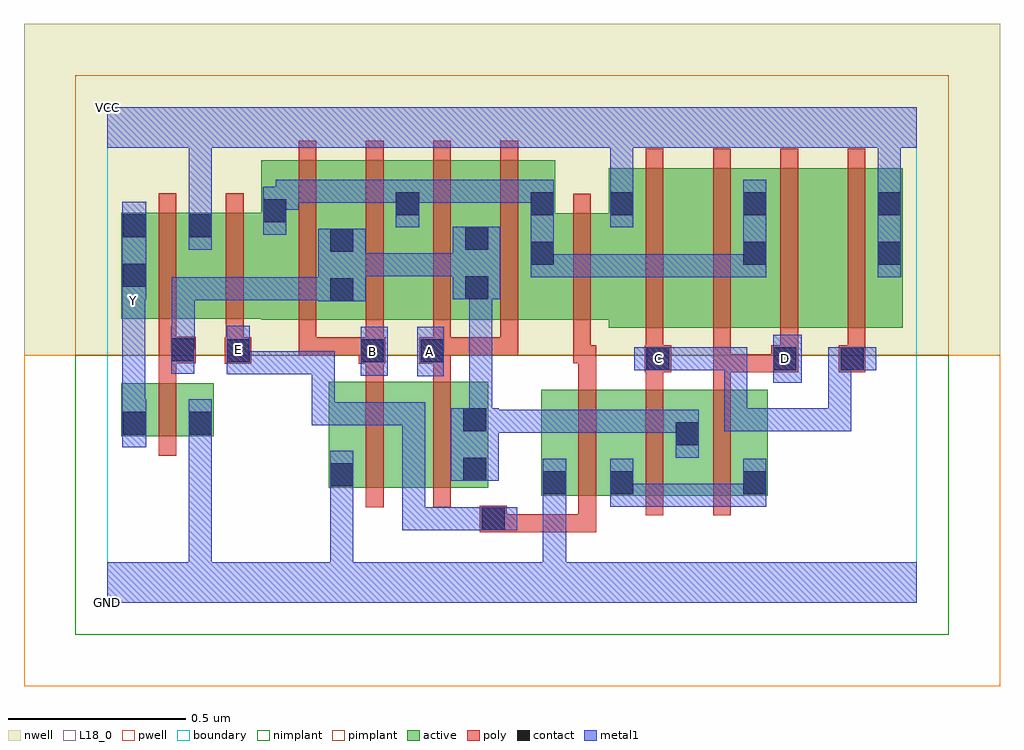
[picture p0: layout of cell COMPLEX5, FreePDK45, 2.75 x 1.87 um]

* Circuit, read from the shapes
.subckt COMPLEX5 A B C D E GND VCC Y
M1 GND n1 Y VSUBS nfet w=0.15u l=0.05u
M2 n2 B GND VSUBS nfet w=0.3u l=0.05u
M3 n1 A n2 VSUBS nfet w=0.3u l=0.05u
M4 n3 E GND VSUBS nfet w=0.3u l=0.05u
M5 n1 C n3 VSUBS nfet w=0.3u l=0.05u
M6 n3 D n1 VSUBS nfet w=0.3u l=0.05u
M7 VCC n1 Y n4 pfet w=0.3u l=0.05u
M8 n5 E VCC n4 pfet w=0.3u l=0.05u m=2
M9 n1 B n5 n4 pfet w=0.45u l=0.05u m=2
M10 n1 A n5 n4 pfet w=0.45u l=0.05u m=2
M11 n6 C VCC n4 pfet w=0.45u l=0.05u
M12 n5 D n6 n4 pfet w=0.45u l=0.05u
M13 n7 D n5 n4 pfet w=0.45u l=0.05u
M14 VCC C n7 n4 pfet w=0.45u l=0.05u
.ends

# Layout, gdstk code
import gdstk
lib = gdstk.Library(unit=1e-6, precision=1e-09)
def R(c, l, rs):  # rectangles x0, y0, x1, y1
    for r in rs: c.add(gdstk.rectangle(r[:2], r[2:], *l))
def A(c, l, x, y, w, h, nx, ny, dx, dy):  # array of equal rectangles
    R(c, l, [(x+i*dx, y+j*dy, x+i*dx+w, y+j*dy+h) for i in range(nx) for j in range(ny)])
active = (1, 0)
pwell = (2, 0)
nwell = (3, 0)
nimplant = (4, 0)
pimplant = (5, 0)
poly = (9, 0)
contact = (10, 0)
metal1 = (11, 0)
L18_0 = (18, 0)
boundary = (235, 0)

complex5 = lib.new_cell('COMPLEX5')
R(complex5, active, [(1.225,0.302,1.3,0.602), (1.225,0.302,1.49,0.602), (1.415,0.302,1.675,0.602), (1.415,0.302,1.49,0.547), (1.6,0.302,1.865,0.602), (1.79,0.302,1.865,0.602), (0.625,0.325,0.7,0.625), (0.625,0.325,0.85,0.625), (0.85,0.325,1.075,0.625), (1,0.33,1.075,0.625), (1.6,0.33,1.675,0.515), (0.04,0.47,0.115,0.62), (0.04,0.47,0.3,0.62), (0.225,0.47,0.3,0.62), (1.415,0.777,1.64,1.227), (1.64,0.777,1.865,1.227), (1.79,0.777,2.02,1.227), (1.79,0.777,1.865,1.2), (2.02,0.777,2.245,1.227), (2.17,0.777,2.245,1.227), (0.435,0.8,0.7,1.25), (0.625,0.8,0.885,1.25), (0.625,0.8,0.7,1.07), (0.81,0.8,1.08,1.25), (0.81,0.8,0.885,1.2), (1.005,0.8,1.265,1.25), (1.005,0.8,1.08,1.07), (1.19,0.8,1.49,1.1), (0.04,0.802,0.115,1.102), (0.04,0.802,0.3,1.102), (0.225,0.802,0.3,1.102), (0.225,0.802,0.51,1.102), (1.19,0.95,1.265,1.2), (0.435,1.007,0.51,1.2), (1.415,1.007,1.49,1.165)])
R(complex5, pwell, [(-0.235,-0.235,2.52,0.7)])
R(complex5, nwell, [(-0.235,0.7,2.52,1.635)])
R(complex5, nimplant, [(-0.09,-0.09,2.375,0.7)])
R(complex5, pimplant, [(-0.09,0.7,2.375,1.49)])
A(complex5, poly, 1.33, 0.247, 0.05, 0.41, 3, 1, 0.19, 0)
A(complex5, poly, 0.54, 0.7, 0.05, 0.095, 4, 1, 0.19, 0)
A(complex5, poly, 1.52, 0.722, 0.05, 0.56, 4, 1, 0.19, 0)
A(complex5, poly, 0.54, 0.745, 0.05, 0.56, 4, 1, 0.19, 0)
R(complex5, poly, [(1.052,0.2,1.127,0.275), (1.077,0.2,1.127,0.25), (1.077,0.2,1.127,0.25), (1.077,0.2,1.38,0.25), (1.33,0.2,1.38,0.25), (1.33,0.2,1.38,0.25), (1.33,0.2,1.38,0.25), (1.33,0.2,1.38,0.297), (0.73,0.27,0.78,0.68), (0.92,0.27,0.97,0.68), (0.145,0.415,0.195,0.675), (1.33,0.607,1.38,0.727), (1.52,0.607,1.57,0.702), (1.71,0.607,1.76,0.702), (0.145,0.625,0.195,0.727), (0.73,0.63,0.78,0.725), (0.92,0.63,0.97,0.725), (1.517,0.652,1.592,0.727), (1.71,0.652,1.76,0.702), (1.71,0.652,1.925,0.702), (1.71,0.652,1.76,0.772), (1.875,0.652,1.95,0.727), (1.875,0.652,1.925,0.702), (1.875,0.652,1.925,0.702), (2.065,0.652,2.14,0.727), (0.332,0.675,0.407,0.75), (0.71,0.675,0.785,0.75), (0.88,0.675,0.97,0.75), (0.145,0.677,0.25,0.752), (1.315,0.677,1.365,0.795), (1.315,0.677,1.38,0.727), (1.52,0.677,1.57,0.772), (1.9,0.677,1.95,0.772), (2.09,0.677,2.14,0.772), (0.335,0.7,0.385,0.797), (0.54,0.7,0.59,0.75), (0.54,0.7,0.59,0.75), (0.54,0.7,0.59,0.75), (0.54,0.7,0.76,0.75), (0.92,0.7,1.16,0.75), (1.11,0.7,1.16,0.75), (1.11,0.7,1.16,0.75), (1.11,0.7,1.16,0.75), (0.145,0.702,0.195,0.797), (1.315,0.745,1.365,1.155), (0.145,0.747,0.195,1.157), (0.335,0.747,0.385,1.157)])
R(complex5, contact, [(1.057,0.205,1.122,0.27), (1.23,0.307,1.295,0.372), (1.42,0.307,1.485,0.372), (1.795,0.307,1.86,0.372), (0.63,0.33,0.695,0.395), (1.005,0.345,1.07,0.41), (1.605,0.445,1.67,0.51), (0.045,0.475,0.11,0.54), (0.23,0.475,0.295,0.54), (1.005,0.485,1.07,0.55), (1.522,0.657,1.587,0.722), (1.88,0.657,1.945,0.722), (2.07,0.657,2.135,0.722), (0.337,0.68,0.402,0.745), (0.715,0.68,0.78,0.745), (0.885,0.68,0.95,0.745), (0.18,0.682,0.245,0.747), (0.63,0.852,0.695,0.917), (1.01,0.857,1.075,0.922), (0.045,0.892,0.11,0.957), (1.195,0.955,1.26,1.02), (1.795,0.955,1.86,1.02), (2.175,0.955,2.24,1.02), (0.63,0.992,0.695,1.057), (1.01,0.997,1.075,1.062), (0.045,1.032,0.11,1.097), (0.23,1.032,0.295,1.097), (0.44,1.075,0.505,1.14), (0.815,1.095,0.88,1.16), (1.195,1.095,1.26,1.16), (1.42,1.095,1.485,1.16), (1.795,1.095,1.86,1.16), (2.175,1.095,2.24,1.16)])
R(complex5, metal1, [(0,0,2.285,0.115), (0.23,0.05,0.295,0.115), (0.23,0.05,0.295,0.115), (0.23,0.05,0.295,0.115), (0.23,0.05,0.295,0.115), (0.23,0.05,0.295,0.115), (0.23,0.05,0.295,0.115), (0.23,0.05,0.295,0.505), (0.63,0.05,0.695,0.115), (0.63,0.05,0.695,0.115), (0.63,0.05,0.695,0.115), (0.63,0.05,0.695,0.115), (0.63,0.05,0.695,0.36), (1.23,0.05,1.295,0.337), (0.832,0.205,0.897,0.27), (0.832,0.205,0.897,0.27), (0.832,0.205,0.897,0.27), (0.832,0.205,0.935,0.27), (0.832,0.205,0.897,0.567), (0.87,0.205,0.935,0.27), (0.87,0.205,1.087,0.27), (1.022,0.205,1.087,0.27), (1.022,0.205,1.087,0.27), (1.022,0.205,1.157,0.27), (1.23,0.272,1.295,0.337), (1.23,0.272,1.295,0.337), (1.23,0.272,1.295,0.337), (1.23,0.272,1.295,0.337), (1.23,0.272,1.295,0.407), (1.42,0.272,1.485,0.407), (1.42,0.272,1.622,0.337), (1.557,0.272,1.622,0.337), (1.557,0.272,1.622,0.337), (1.557,0.272,1.622,0.337), (1.557,0.272,1.807,0.337), (1.742,0.272,1.807,0.337), (1.742,0.272,1.86,0.337), (1.795,0.272,1.86,0.407), (0.63,0.295,0.695,0.43), (0.97,0.345,1.105,0.55), (1.605,0.41,1.67,0.545), (0.042,0.44,0.11,0.575), (0.23,0.44,0.295,0.575), (1.04,0.48,1.247,0.545), (1.182,0.48,1.247,0.545), (1.182,0.48,1.247,0.545), (1.182,0.48,1.247,0.545), (1.182,0.48,1.415,0.545), (1.35,0.48,1.415,0.545), (1.35,0.48,1.415,0.545), (1.35,0.48,1.415,0.545), (1.35,0.48,1.67,0.545), (1.605,0.48,1.67,0.545), (1.605,0.48,1.67,0.545), (1.022,0.485,1.087,0.922), (1.742,0.485,1.807,0.55), (1.742,0.485,1.807,0.722), (1.742,0.485,1.962,0.55), (1.897,0.485,1.962,0.55), (1.897,0.485,2.1,0.55), (2.035,0.485,2.1,0.55), (2.035,0.485,2.1,0.722), (0.577,0.502,0.642,0.567), (0.577,0.502,0.797,0.567), (0.577,0.502,0.642,0.71), (0.732,0.502,0.797,0.567), (0.732,0.502,0.897,0.567), (0.832,0.502,0.897,0.567), (0.042,0.51,0.107,0.852), (1.88,0.622,1.96,0.757), (0.875,0.64,0.95,0.78), (0.715,0.642,0.792,0.78), (0.337,0.645,0.402,0.71), (0.337,0.645,0.402,0.71), (0.337,0.645,0.642,0.71), (0.337,0.645,0.402,0.782), (0.577,0.645,0.642,0.71), (0.577,0.645,0.642,0.71), (0.577,0.645,0.642,0.71), (0.18,0.647,0.245,0.782), (1.487,0.657,1.622,0.722), (1.557,0.657,1.622,0.722), (1.557,0.657,1.622,0.722), (1.557,0.657,1.807,0.722), (1.742,0.657,1.807,0.722), (1.742,0.657,1.807,0.722), (1.742,0.657,1.807,0.722), (2.035,0.657,2.1,0.722), (2.035,0.657,2.1,0.722), (2.035,0.657,2.17,0.722), (0.18,0.717,0.245,0.782), (0.18,0.717,0.247,0.782), (0.182,0.717,0.247,0.92), (0.042,0.787,0.107,0.922), (0.595,0.852,0.73,1.057), (0.182,0.855,0.247,0.92), (0.182,0.855,0.402,0.92), (0.337,0.855,0.402,0.92), (0.337,0.855,0.402,0.92), (0.337,0.855,0.402,0.92), (0.337,0.855,0.642,0.92), (0.577,0.855,0.642,0.92), (0.577,0.855,0.66,0.92), (0.042,0.857,0.107,0.922), (0.042,0.857,0.11,1.132), (0.975,0.857,1.11,1.062), (1.022,0.857,1.087,0.922), (1.022,0.857,1.087,0.922), (1.195,0.92,1.26,1.195), (1.195,0.92,1.26,0.985), (1.195,0.92,1.26,0.985), (1.195,0.92,1.397,0.985), (1.332,0.92,1.397,0.985), (1.332,0.92,1.397,0.985), (1.332,0.92,1.397,0.985), (1.332,0.92,1.622,0.985), (1.557,0.92,1.622,0.985), (1.557,0.92,1.622,0.985), (1.557,0.92,1.622,0.985), (1.557,0.92,1.807,0.985), (1.742,0.92,1.807,0.985), (1.742,0.92,1.86,0.985), (1.795,0.92,1.86,1.195), (2.175,0.92,2.24,1.195), (0.665,0.922,0.78,0.987), (0.715,0.922,0.78,0.987), (0.715,0.922,0.897,0.987), (0.832,0.922,0.897,0.987), (0.832,0.922,0.935,0.987), (0.87,0.922,0.935,0.987), (0.87,0.922,1.04,0.987), (0.23,0.997,0.295,1.132), (0.44,1.04,0.505,1.175), (0.815,1.06,0.88,1.195), (1.42,1.06,1.485,1.195), (0.23,1.067,0.295,1.35), (0.44,1.11,0.54,1.175), (0.475,1.11,0.54,1.195), (0.475,1.13,0.642,1.195), (0.577,1.13,0.642,1.195), (0.577,1.13,0.78,1.195), (0.715,1.13,0.78,1.195), (0.715,1.13,0.88,1.195), (0.815,1.13,0.935,1.195), (0.87,1.13,0.935,1.195), (0.87,1.13,1.11,1.195), (1.045,1.13,1.11,1.195), (1.045,1.13,1.26,1.195), (1.195,1.13,1.26,1.195), (1.195,1.13,1.26,1.195), (1.42,1.13,1.485,1.35), (2.175,1.13,2.24,1.35), (0,1.285,2.285,1.4), (0.23,1.285,0.295,1.35), (0.23,1.285,0.295,1.35)])
R(complex5, L18_0, [(0,0,2.285,0.115), (0.23,0.05,0.295,0.115), (0.23,0.05,0.295,0.115), (0.23,0.05,0.295,0.115), (0.23,0.05,0.295,0.115), (0.23,0.05,0.295,0.115), (0.23,0.05,0.295,0.115), (0.23,0.05,0.295,0.505), (0.63,0.05,0.695,0.115), (0.63,0.05,0.695,0.115), (0.63,0.05,0.695,0.115), (0.63,0.05,0.695,0.115), (0.63,0.05,0.695,0.36), (1.23,0.05,1.295,0.337), (0.832,0.205,0.897,0.27), (0.832,0.205,0.897,0.27), (0.832,0.205,0.897,0.27), (0.832,0.205,0.897,0.567), (0.832,0.205,0.935,0.27), (0.87,0.205,0.935,0.27), (0.87,0.205,1.087,0.27), (1.022,0.205,1.087,0.27), (1.022,0.205,1.087,0.27), (1.022,0.205,1.157,0.27), (1.23,0.272,1.295,0.407), (1.23,0.272,1.295,0.337), (1.23,0.272,1.295,0.337), (1.23,0.272,1.295,0.337), (1.23,0.272,1.295,0.337), (0.63,0.295,0.695,0.43), (0.042,0.44,0.11,0.575), (0.23,0.44,0.295,0.575), (1.742,0.485,1.807,0.55), (1.742,0.485,1.962,0.55), (1.742,0.485,1.807,0.722), (1.897,0.485,1.962,0.55), (1.897,0.485,2.1,0.55), (2.035,0.485,2.1,0.55), (2.035,0.485,2.1,0.722), (0.577,0.502,0.642,0.567), (0.577,0.502,0.642,0.71), (0.577,0.502,0.797,0.567), (0.732,0.502,0.797,0.567), (0.732,0.502,0.897,0.567), (0.832,0.502,0.897,0.567), (0.042,0.51,0.107,0.852), (1.88,0.622,1.96,0.757), (0.875,0.64,0.95,0.78), (0.715,0.642,0.792,0.78), (0.337,0.645,0.402,0.71), (0.337,0.645,0.402,0.71), (0.337,0.645,0.402,0.782), (0.337,0.645,0.642,0.71), (0.577,0.645,0.642,0.71), (0.577,0.645,0.642,0.71), (0.577,0.645,0.642,0.71), (1.487,0.657,1.622,0.722), (1.522,0.657,1.587,0.722), (1.557,0.657,1.622,0.722), (1.557,0.657,1.622,0.722), (1.557,0.657,1.807,0.722), (1.742,0.657,1.807,0.722), (1.742,0.657,1.807,0.722), (1.742,0.657,1.807,0.722), (1.882,0.657,1.947,0.722), (2.035,0.657,2.1,0.722), (2.035,0.657,2.1,0.722), (2.035,0.657,2.17,0.722), (0.717,0.677,0.782,0.742), (0.877,0.677,0.942,0.742), (0.337,0.682,0.402,0.747), (0.042,0.787,0.107,0.922), (0.042,0.822,0.107,0.887), (0.042,0.857,0.11,1.132), (0.042,0.857,0.107,0.922), (2.175,0.92,2.24,1.195), (0.23,0.997,0.295,1.132), (1.42,1.06,1.485,1.195), (0.23,1.067,0.295,1.35), (1.42,1.13,1.485,1.35), (2.175,1.13,2.24,1.35), (0,1.285,2.285,1.4), (0.23,1.285,0.295,1.35), (0.23,1.285,0.295,1.35)])
R(complex5, boundary, [(0,0,2.285,1.4)])
complex5.add(gdstk.Label('A', (0.91,0.71), layer=11, texttype=0))
complex5.add(gdstk.Label('B', (0.75,0.71), layer=11, texttype=0))
complex5.add(gdstk.Label('C', (1.555,0.69), layer=11, texttype=0))
complex5.add(gdstk.Label('D', (1.915,0.69), layer=11, texttype=0))
complex5.add(gdstk.Label('E', (0.37,0.715), layer=11, texttype=0))
complex5.add(gdstk.Label('Y', (0.075,0.855), layer=11, texttype=0))
complex5.add(gdstk.Label('VCC', (0,1.4), layer=11, texttype=0))
complex5.add(gdstk.Label('GND', (0,0), layer=11, texttype=0))

lib.write_gds('COMPLEX5.gds')
